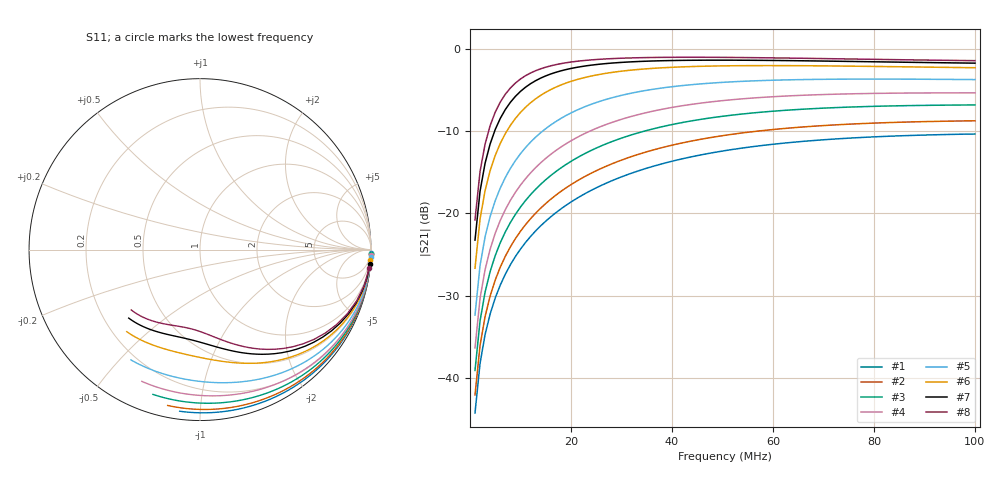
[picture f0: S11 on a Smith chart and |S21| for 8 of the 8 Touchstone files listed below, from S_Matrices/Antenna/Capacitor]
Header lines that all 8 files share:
!Created with skrf (http://scikit-rf.org).
# MHz S RI R 50.0
!freq ReS11 ImS11 ReS21 ImS21 ReS12 ImS12 ReS22 ImS22
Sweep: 1 MHz to 100 MHz
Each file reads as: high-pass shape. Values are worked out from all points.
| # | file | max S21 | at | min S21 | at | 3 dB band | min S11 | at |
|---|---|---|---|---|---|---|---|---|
| 1 | capacitor_D_cylinders_059.0.s2p | -10.37 dB | 100 MHz | -44.3 dB | 1 MHz | 43 MHz-100 MHz | -0.4 dB | 100 MHz |
| 2 | capacitor_D_cylinders_065.0.s2p | -8.77 dB | 100 MHz | -42.1 dB | 1 MHz | 40 MHz-100 MHz | -0.6 dB | 100 MHz |
| 3 | capacitor_D_cylinders_071.0.s2p | -6.84 dB | 100 MHz | -39.1 dB | 1 MHz | 36 MHz-100 MHz | -1.0 dB | 100 MHz |
| 4 | capacitor_D_cylinders_075.0.s2p | -5.38 dB | 98 MHz | -36.4 dB | 1 MHz | 32 MHz-100 MHz | -1.5 dB | 98 MHz |
| 5 | capacitor_D_cylinders_080.s2p | -3.70 dB | 80 MHz | -32.4 dB | 1 MHz | 25 MHz-100 MHz | -2.4 dB | 80 MHz |
| 6 | capacitor_D_cylinders_090.s2p | -2.06 dB | 59 MHz | -26.7 dB | 1 MHz | 16 MHz-100 MHz | -4.2 dB | 59 MHz |
| 7 | capacitor_D_cylinders_100.s2p | -1.40 dB | 49 MHz | -23.3 dB | 1 MHz | 12 MHz-100 MHz | -5.6 dB | 49 MHz |
| 8 | capacitor_D_cylinders_110.s2p | -1.05 dB | 43 MHz | -20.8 dB | 1 MHz | 10 MHz-100 MHz | -6.7 dB | 43 MHz |
